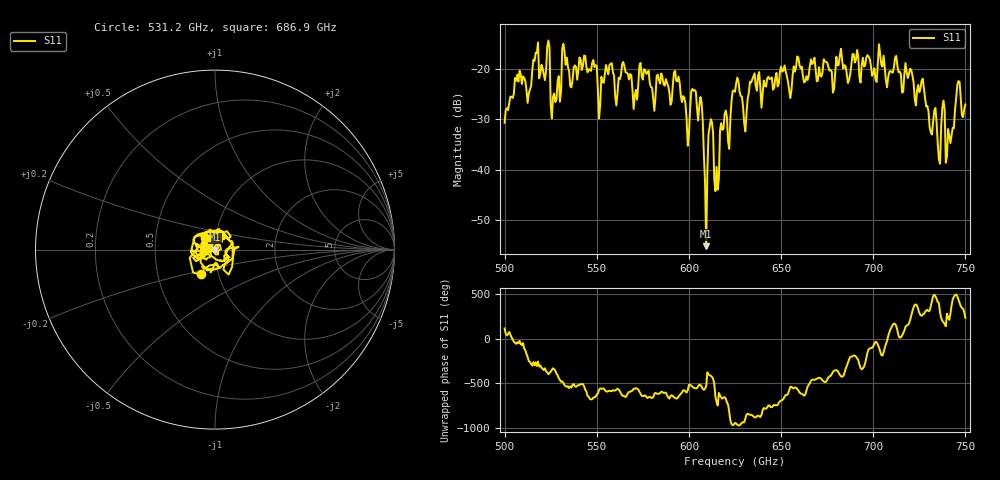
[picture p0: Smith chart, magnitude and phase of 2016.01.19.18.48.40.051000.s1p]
!Created with skrf (http://scikit-rf.org).
# GHz S RI R 50.0
!freq ReS11 ImS11
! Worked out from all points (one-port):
!   401 points, 500 GHz to 750 GHz, reference 50 ohm
!   lowest |S11| = -55.2 dB at 609.4 GHz (marker M1), VSWR 1.00, Z = 49.8 - j0.0238 ohm
!   |S11| at or under -10 dB: start of sweep to end of sweep
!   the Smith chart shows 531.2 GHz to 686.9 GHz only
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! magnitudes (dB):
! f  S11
! 500 GHz  -30.7
! 506.9 GHz  -21.1
! 513.1 GHz  -24.9
! 516.9 GHz  -16.8
! 523.1 GHz  -15.6
! 526.2 GHz  -25.5
! 531.2 GHz  -16.0
! 562.5 GHz  -22.1
! 593.8 GHz  -22.5
! 599.4 GHz  -35.2
! 602.5 GHz  -24.4
! 606.2 GHz  -25.6
! 609.4 GHz  -55.2
! 611.9 GHz  -30.0
! 615 GHz  -39.4
! 618.1 GHz  -32.1
! 621.9 GHz  -35.9
! 625 GHz  -24.6
! 630.6 GHz  -32.4
! 634.4 GHz  -22.1
! 656.2 GHz  -21.3
! 687.5 GHz  -21.1
! 718.8 GHz  -21.8
! 735.6 GHz  -37.9
! 738.1 GHz  -26.3
! 740.6 GHz  -31.9
! 746.2 GHz  -22.4
! 750 GHz  -27.1
